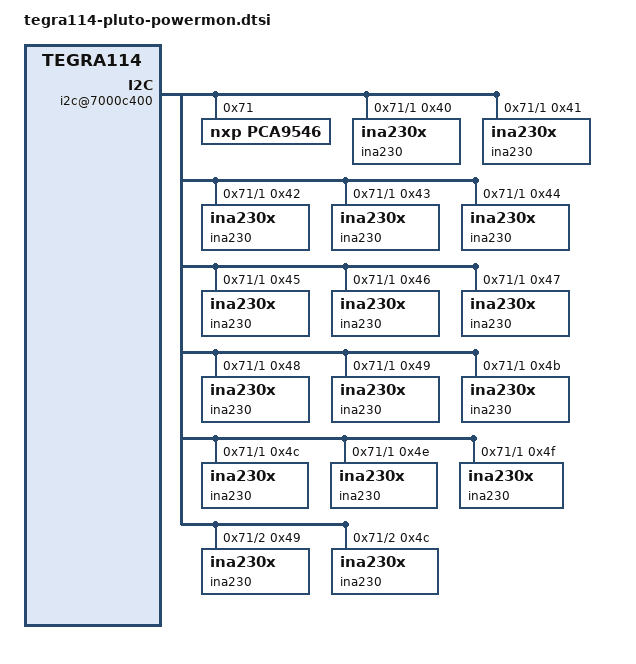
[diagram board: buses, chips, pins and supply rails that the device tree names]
/ {
	i2c@7000c400 {

		pca9546@71 {
			compatible = "nxp,pca9546";
			reg = <0x71>;
			#address-cells = <1>;
			#size-cells = <0>;

			i2c@0 {
				reg = <0>;
				i2c-mux,deselect-on-exit;
			};

			i2c@1 {
				reg = <1>;
				i2c-mux,deselect-on-exit;
				#address-cells = <1>;
				#size-cells = <0>;

				ina230@40{
					compatible = "ina230x";
					reg = <0x40>;
					ti,rail-name = "VDD_SYS_SUM";
					ti,continuous-config = <0x0407>;
					ti,trigger-config = <0x0403>;
					ti,calibration-data = <0x369C>;
					ti,power-lsb = <3051>;
					ti,divisor = <25>;
					ti,precision-multiplier = <1000>;
				};

				ina230@41{
					compatible = "ina230x";
					reg = <0x41>;
					ti,rail-name = "VDD_SYS_SMPS123";
					ti,continuous-config = <0x0407>;
					ti,trigger-config = <0x0403>;
					ti,calibration-data = <0x2BB0>;
					ti,power-lsb = <2288>;
					ti,divisor = <25>;
					ti,precision-multiplier = <1000>;
				};

				ina230@42{
					compatible = "ina230x";
					reg = <0x42>;
					ti,rail-name = "VDD_SYS_SMPS45";
					ti,continuous-config = <0x0407>;
					ti,trigger-config = <0x0403>;
					ti,calibration-data = <0x4188>;
					ti,power-lsb = <1525>;
					ti,divisor = <25>;
					ti,precision-multiplier = <1000>;
				};

				ina230@43{
					compatible = "ina230x";
					reg = <0x43>;
					ti,rail-name = "VDD_SYS_SMPS6";
					ti,continuous-config = <0x0407>;
					ti,trigger-config = <0x0403>;
					ti,calibration-data = <0x2BB0>;
					ti,power-lsb = <381>;
					ti,divisor = <25>;
					ti,precision-multiplier = <1000>;
				};

				ina230@44{
					compatible = "ina230x";
					reg = <0x44>;
					ti,rail-name = "VDD_SYS_SMPS7";
					ti,continuous-config = <0x0407>;
					ti,trigger-config = <0x0403>;
					ti,resistor = <50>;
					ti,calibration-data = <0x2BB0>;
					ti,power-lsb = <228>;
					ti,divisor = <25>;
					ti,precision-multiplier = <1000>;
				};

				ina230@45{
					compatible = "ina230x";
					reg = <0x45>;
					ti,rail-name = "VDD_SYS_SMPS8";
					ti,continuous-config = <0x0407>;
					ti,trigger-config = <0x0403>;
					ti,calibration-data = <0x2BB0>;
					ti,power-lsb = <228>;
					ti,divisor = <25>;
					ti,precision-multiplier = <1000>;
				};

				ina230@46{
					compatible = "ina230x";
					reg = <0x46>;
					ti,rail-name = "VDD_SYS_BL";
					ti,continuous-config = <0x0407>;
					ti,trigger-config = <0x0403>;
					ti,calibration-data = <0x4188>;
					ti,power-lsb = <152>;
					ti,divisor = <25>;
					ti,precision-multiplier = <1000>;
				};

				ina230@47{
					compatible = "ina230x";
					reg = <0x47>;
					ti,rail-name = "VDD_SYS_LDO8";
					ti,continuous-config = <0x0407>;
					ti,trigger-config = <0x0403>;
					ti,calibration-data = <0x2D82>;
					ti,power-lsb = <54>;
					ti,divisor = <25>;
					ti,precision-multiplier = <1000>;
				};

				ina230@48{
					compatible = "ina230x";
					reg = <0x48>;
					ti,rail-name = "VDD_MMC_LDO9";
					ti,continuous-config = <0x0407>;
					ti,trigger-config = <0x0403>;
					ti,calibration-data = <0x51EA>;
					ti,power-lsb = <30>;
					ti,divisor = <25>;
					ti,precision-multiplier = <1000>;
				};

				ina230@49{
					compatible = "ina230x";
					reg = <0x49>;
					ti,rail-name = "VDD_5V0_LDOUSB";
					ti,continuous-config = <0x0407>;
					ti,trigger-config = <0x0403>;
					ti,calibration-data = <0x2F7D>;
					ti,power-lsb = <52>;
					ti,divisor = <25>;
					ti,precision-multiplier = <1000>;
				};

				ina230@4b{
					compatible = "ina230x";
					reg = <0x4b>;
					ti,rail-name = "VDD_1V8_AP";
					ti,continuous-config = <0x0407>;
					ti,trigger-config = <0x0403>;
					ti,calibration-data = <0x4FEB>;
					ti,power-lsb = <125>;
					ti,divisor = <25>;
					ti,precision-multiplier = <1000>;
				};

				ina230@4c{
					compatible = "ina230x";
					reg = <0x4c>;
					ti,rail-name = "VDD_MMC_LCD";
					ti,continuous-config = <0x0407>;
					ti,trigger-config = <0x0403>;
					ti,calibration-data = <0x346D>;
					ti,power-lsb = <47>;
					ti,divisor = <25>;
					ti,precision-multiplier = <1000>;
				};

				ina230@4e{
					compatible = "ina230x";
					reg = <0x4e>;
					ti,rail-name = "VDDIO_HSIC_BB";
					ti,continuous-config = <0x0407>;
					ti,trigger-config = <0x0403>;
					ti,calibration-data = <0x6D39>;
					ti,power-lsb = <9>;
					ti,divisor = <25>;
					ti,precision-multiplier = <1000>;
				};

				ina230@4f{
					compatible = "ina230x";
					reg = <0x4f>;
					ti,rail-name = "AVDD_PLL_BB";
					ti,continuous-config = <0x0407>;
					ti,trigger-config = <0x0403>;
					ti,calibration-data = <0x7FFF>;
					ti,power-lsb = <7>;
					ti,divisor = <25>;
					ti,precision-multiplier = <1000>;
				};
			};

			i2c@2 {
				reg = <2>;
				i2c-mux,deselect-on-exit;
				#address-cells = <1>;
				#size-cells = <0>;
				ina230@49{
					compatible = "ina230x";
					reg = <0x49>;
					ti,rail-name = "AVDD_1V05_LDO1";
					ti,continuous-config = <0x0407>;
					ti,trigger-config = <0x0403>;
					ti,calibration-data = <0x7FFF>;
					ti,power-lsb = <195>;
					ti,divisor = <25>;
					ti,precision-multiplier = <1000>;
				};

				ina230@4c{
					compatible = "ina230x";
					reg = <0x4c>;
					ti,rail-name = "VDDIO_1V8_BB";
					ti,continuous-config = <0x0407>;
					ti,trigger-config = <0x0403>;
					ti,calibration-data = <0x7FFF>;
					ti,power-lsb = <78>;
					ti,divisor = <25>;
					ti,precision-multiplier = <1000>;
				};
			};

			i2c@3 {
				reg = <3>;
				i2c-mux,deselect-on-exit;
			};
		};
	};
};

